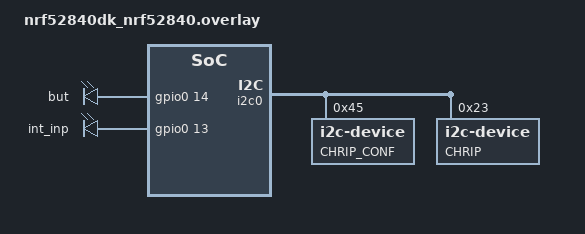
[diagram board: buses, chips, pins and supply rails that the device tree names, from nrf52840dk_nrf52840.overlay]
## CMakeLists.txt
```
# SPDX-License-Identifier: Apache-2.0

cmake_minimum_required(VERSION 3.20.0)

find_package(Zephyr REQUIRED HINTS $ENV{ZEPHYR_BASE})
include_directories(src/inc)
project(hello_world)

file(GLOB Dir1_Sources "src/lib/*.c")
add_executable(hello_world ${Dir1_Sources})

target_sources(app PRIVATE src/main.c)
```

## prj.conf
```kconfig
# nothing here
CONFIG_GPIO=y
CONFIG_I2C=y
```

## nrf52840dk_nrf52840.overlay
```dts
// To get started, press Ctrl+Space to bring up the completion menu and view the available nodes.
&i2c0 {
    chrip_conf: chrip_conf@45 {
		compatible = "i2c-device";
		label = "CHRIP_CONF";
		reg = <0x45>;
	};

    chrip: chrip@23 {
		compatible = "i2c-device";
		label = "CHRIP";
		reg = <0x23>;
	};
};

/{
	buttuns{
		compatible = "gpio-leds";
		but: but{
			gpios = <&gpio0 14 GPIO_ACTIVE_HIGH>;
		};

		int_inp: int_inp{
			gpios = <&gpio0 13 GPIO_ACTIVE_HIGH>;
		};
	};
};
// &gpio0 {
// 	chirp_pins: chirp_pins0{

// 		gpio-hog;
// 		gpios = < label cell >;
// 	};	
// };


// You can also use the buttons in the sidebar to perform actions on nodes.
// Actions currently available include:

// * Enabling / disabling the node
// * Adding the bus to a bus
// * Removing the node
// * Connecting ADC channels

// For more help, browse the DeviceTree documentation at https://docs.zephyrproject.org/latest/guides/dts/index.html
// You can also visit the nRF DeviceTree extension documentation at https://nrfconnect.github.io/vscode-nrf-connect/devicetree/nrfdevicetree.html
```

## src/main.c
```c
/*
 * Copyright (c) 2012-2014 Wind River Systems, Inc.
 *
 * SPDX-License-Identifier: Apache-2.0
 */

#include <zephyr/kernel.h>
#include <zephyr/drivers/gpio.h>
#include <zephyr/drivers/i2c.h>
#include "soniclib.h"

// Driver includes
// #include "inc/soniclib.h"
// #include "chirp_board_config.h"

#define SLEEP_TIME_MS 1000
#define LED0_NODE DT_ALIAS(led3)
#define I2C_MAIN_NODE DT_NODELABEL(chrip)
#define I2C_CONF_NODE DT_NODELABEL(chrip_conf)
#define GPIO DT_NODELABEL(&gpio)

// static const struct gpio_dt_spec led = GPIO_DT_SPEC_GET(LED0_NODE, gpios); 
// static const struct i2c_dt_spec iicm = I2C_DT_SPEC_GET(I2C_MAIN_NODE);
// static const struct i2c_dt_spec iicc = I2C_DT_SPEC_GET(I2C_CONF_NODE);

// static const struct gpio_dt_spec btn = GPIO_DT_SPEC_GET(DT_NODELABEL(but), gpios);
// static const struct gpio_dt_spec inp = GPIO_DT_SPEC_GET(DT_NODELABEL(int_inp), gpios);

// static struct gpio_callback btn_cb_data;

// void gpio_cb(const struct device *port, struct gpio_callback *cb, uint32_t pin){
// 	printk("INSIDE INTERRUPT\n\rPORT:%s\n\rPIN:%d\n\r", port->name, pin);
// }

// void gpio_cb2(const struct device *port, struct gpio_callback *cb, uint32_t pin){
// 	printk("INSIDE Function2\n\r");
// }

volatile uint32_t taskflags = 0;
static uint32_t active_devices;
static uint32_t data_ready_devices;
ch_dev_t	chirp_devices[CHIRP_MAX_NUM_SENSORS];
ch_group_t 	chirp_group;

#define DATA_READY_FLAG		(1 << 0)
#define IQ_READY_FLAG		(1 << 1)

#define	CHIRP_SENSOR_MAX_RANGE_MM		750	/* maximum range, in mm */

#define	CHIRP_SENSOR_STATIC_RANGE		0	/* static target rejection sample 
											   range, in samples (0=disabled) */
#define CHIRP_SENSOR_SAMPLE_INTERVAL	0	/* internal sample interval - 
											   NOT USED IF TRIGGERED */

static void periodic_timer_callback(void) {

	ch_group_trigger(&chirp_group);
}

static void sensor_int_callback(ch_group_t *grp_ptr, uint8_t dev_num) {
	ch_dev_t *dev_ptr = ch_get_dev_ptr(grp_ptr, dev_num);

	data_ready_devices |= (1 << dev_num);		// add to data-ready bit mask

	if (data_ready_devices == active_devices) {
		/* All active sensors have interrupted after performing a measurement */
		data_ready_devices = 0;

		/* Set data-ready flag - it will be checked in main() loop */
		taskflags |= DATA_READY_FLAG;

		/* Disable interrupt unless in free-running mode
		 *   It will automatically be re-enabled during the next trigger 
		 */
		if (ch_get_mode(dev_ptr) != CH_MODE_FREERUN) {
			chbsp_group_io_interrupt_disable(grp_ptr);
		}
	}
}

static void io_complete_callback(ch_group_t *grp_ptr) {

	taskflags |= IQ_READY_FLAG;
}


//#define	 CHIRP_SENSOR_FW_INIT_FUNC	ch101_gpr_open_init		/* CH101 GPR OPEN firmware */
#define	 CHIRP_SENSOR_FW_INIT_FUNC	ch201_gprmt_init	/* CH201 GPR Multi-Threshold firmware */

#define	MEASUREMENT_INTERVAL_MS		100		// 100ms interval = 10Hz sampling

ch_thresholds_t chirp_ch201_thresholds = {0, 	5000,		/* threshold 0 */
										 26,	2000,		/* threshold 1 */
										 39,	800,		/* threshold 2 */
										 56,	400,		/* threshold 3 */
										 79,	250,		/* threshold 4 */
										 89,	175};		/* threshold 5 */
										 
int main(void)
{
	ch_group_t	*grp_ptr = &chirp_group;
	chbsp_board_init(grp_ptr);

	uint8_t chirp_error = 0;
	uint8_t	num_connected = 0;
	uint8_t num_ports;
	uint8_t dev_num;

	
	num_ports = ch_get_num_ports(grp_ptr);
	ch_dev_t *dev_ptr = &(chirp_devices[dev_num]);	// init struct in array
	chirp_error |= ch_init(dev_ptr, grp_ptr, dev_num, CHIRP_SENSOR_FW_INIT_FUNC);

	if (chirp_error == 0) {
		printf("starting group... ");
		chirp_error = ch_group_start(grp_ptr);
	}

	dev_ptr = ch_get_dev_ptr(grp_ptr, 0);
	if (ch_sensor_is_connected(dev_ptr)) {

		printf("%d\tCH%d\t %u Hz\t%lu@%ums\t%s\n", dev_num,
										ch_get_part_number(dev_ptr),
										ch_get_frequency(dev_ptr),
										ch_get_rtc_cal_result(dev_ptr),
										ch_get_rtc_cal_pulselength(dev_ptr),
										ch_get_fw_version_string(dev_ptr));
	}
	printf("\n\r");

	chbsp_periodic_timer_init(MEASUREMENT_INTERVAL_MS, periodic_timer_callback);
	ch_io_int_callback_set(grp_ptr, sensor_int_callback);
	ch_io_complete_callback_set(grp_ptr, io_complete_callback);


	// Configure sensors with operation parameter
	ch_config_t dev_config;
	dev_ptr = ch_get_dev_ptr(grp_ptr, 0);

	if (ch_sensor_is_connected(dev_ptr)) {

		/* Select sensor mode 
			*   All connected sensors are placed in hardware triggered mode.
			*   The first connected (lowest numbered) sensor will transmit and 
			*   receive, all others will only receive.
			*/

		num_connected++;					// count one more connected
		active_devices |= (1 << dev_num);	// add to active device bit mask
		
		dev_config.mode = CH_MODE_TRIGGERED_TX_RX;
		// if (num_connected == 1) {			// if this is the first sensor
		// 	dev_config.mode = CH_MODE_TRIGGERED_TX_RX;
		// } else {									
		// 	dev_config.mode = CH_MODE_TRIGGERED_RX_ONLY;
		// }

		/* Init config structure with values from hello_chirp.h */
		dev_config.max_range       = CHIRP_SENSOR_MAX_RANGE_MM;
		dev_config.static_range    = CHIRP_SENSOR_STATIC_RANGE;
		dev_config.sample_interval = CHIRP_SENSOR_SAMPLE_INTERVAL;

		/* Set detection thresholds (CH201 only) */
		if (ch_get_part_number(dev_ptr) == CH201_PART_NUMBER) {
			/* Set pointer to struct containing detection thresholds */
			dev_config.thresh_ptr = &chirp_ch201_thresholds;	
		} else {
			dev_config.thresh_ptr = 0;							
		}

		/* Apply sensor configuration */
		chirp_error = ch_set_config(dev_ptr, &dev_config);

		/* Enable sensor interrupt if using free-running mode 
			*   Note that interrupt is automatically enabled if using 
			*   triggered modes.
			*/
		if ((!chirp_error) && (dev_config.mode == CH_MODE_FREERUN)) {
			chbsp_io_interrupt_enable(dev_ptr);
		}

		/* Read back and display config settings */
		if (!chirp_error) {
			display_config_info(dev_ptr);
		} else {
			printf("Device %d: Error during ch_set_config()\n", dev_num);
		}

		/* Turn on an LED to indicate device connected */
		if (!chirp_error) {
			// chbsp_led_on(dev_num);
			printk("Error in configuring the sensor\n\r");
		}
	}

	chbsp_periodic_timer_irq_enable();
	chbsp_periodic_timer_start();

	printf("Starting measurements\n");

	while(1){
		if (taskflags==0) {
			chbsp_proc_sleep();			// put processor in low-power sleep mode

			/* We only continue here after an interrupt wakes the processor */
		}

		/* Check for sensor data-ready interrupt(s) */
		if (taskflags & DATA_READY_FLAG) {

			/* All sensors have interrupted - handle sensor data */
			taskflags &= ~DATA_READY_FLAG;		// clear flag
			handle_data_ready(grp_ptr);			// read and display measurement
		}

		/* Check for non-blocking I/Q readout complete */
		if (taskflags & IQ_READY_FLAG) {

			/* All non-blocking I/Q readouts have completed */
			taskflags &= ~IQ_READY_FLAG;		// clear flag
			handle_iq_data(grp_ptr);			// display I/Q data
		}
	}
}
	// irq_enable();
// 	int ret;
// 	// btn.port
// 	if(!device_is_ready(btn.port)){
// 		return 0;
// 	}

// 	if(!device_is_ready(inp.port)){
// 		return 0;
// 	}

// 	if(!gpio_is_ready_dt(&led)){
// 		return 0;
// 	}


// 	ret = gpio_pin_configure_dt(&btn, GPIO_OUTPUT);
// 	if(ret != 0){
// 		return ret;
// 	}

// 	ret = gpio_pin_configure_dt(&inp, GPIO_INPUT);
// 	if(ret != 0){
// 		return ret;
// 	}

// 	ret = gpio_pin_interrupt_configure_dt(&inp, GPIO_INT_EDGE_RISING);
// 	if(ret != 0){
// 		return ret;
// 	}

// 	gpio_init_callback(&btn_cb_data, gpio_cb, BIT(inp.pin));

// 	gpio_add_callback(inp.port, &btn_cb_data);
	

// 	ret = gpio_pin_configure_dt(&led, GPIO_OUTPUT_ACTIVE);
// 	if(ret<0){
// 		return 0;
// 	}

// 	if (!device_is_ready(iicm.bus)) {
// 		printk("I2C Main bus %s is not ready!\n\r",iicm.bus->name);
// 		return 0;
// 	}

// 	if (!device_is_ready(iicc.bus)) {
// 		printk("I2C Conf bus %s is not ready!\n\r",iicc.bus->name);
// 		return 0;
// 	}

// 	// uint8_t config[2] = {0x03,0x8C};
// 	int counter = 0;
// 	while (1)
// 	{
		
// 		// ret = gpio_pin_toggle_dt(&led);
// 		// if(ret<0){
// 		// 	return 0;
// 		// }

// 		ret = i2c_write_dt(&iicm, config, sizeof(config));
// 		// if(ret != 0){
// 		// 	printk("Failed to write to I2C Main device address %x at reg. %x n", iicm.addr,config[0]);
// 		// }

// 		// ret = i2c_write_dt(&iicc, config, sizeof(config));
// 		// if(ret != 0){
// 		// 	printk("Failed to write to I2C Conf device address %x at reg. %x n", iicc.addr,config[0]);
// 		// }

// 		// printk("Hello World! %s\n", CONFIG_BOARD);

// 		gpio_pin_set(btn.port, btn.pin, 0);
// 		k_msleep(100);
// 		gpio_pin_set(btn.port, btn.pin, 1);
// 		k_msleep(900);
// 		printk("ONE_LOOP_COMPLETED: %d\n\r", counter);

// 		if(counter == 10){
// 			// Disable interrupt
// 			gpio_init_callback(&btn_cb_data, gpio_cb2, BIT(inp.pin));
// 			gpio_add_callback(inp.port, &btn_cb_data);
// 		}
// 		else if(counter == 16){
// 			// Enable interrupt
// 			gpio_pin_interrupt_configure_dt(&inp, GPIO_INT_EDGE_FALLING);
// 		}
// 		counter++;
// 	}
// 	return 0;
// }
```

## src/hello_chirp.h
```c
/*
 * hello_chirp.h - header file for Hello Chirp! example application 
 */

/*
Copyright © 2019, Chirp Microsystems.   All rights reserved.

THIS SOFTWARE IS PROVIDED BY THE COPYRIGHT HOLDERS AND CONTRIBUTORS "AS IS" AND
ANY EXPRESS OR IMPLIED WARRANTIES, INCLUDING, BUT NOT LIMITED TO, THE IMPLIED
WARRANTIES OF MERCHANTABILITY AND FITNESS FOR A PARTICULAR PURPOSE ARE
DISCLAIMED. IN NO EVENT SHALL CHIRP MICROSYSTEMS BE LIABLE FOR ANY
DIRECT, INDIRECT, INCIDENTAL, SPECIAL, EXEMPLARY, OR CONSEQUENTIAL DAMAGES
(INCLUDING, BUT NOT LIMITED TO, PROCUREMENT OF SUBSTITUTE GOODS OR SERVICES;
LOSS OF USE, DATA, OR PROFITS; OR BUSINESS INTERRUPTION) HOWEVER CAUSED AND
ON ANY THEORY OF LIABILITY, WHETHER IN CONTRACT, STRICT LIABILITY, OR TORT
(INCLUDING NEGLIGENCE OR OTHERWISE) ARISING IN ANY WAY OUT OF THE USE OF THIS
SOFTWARE, EVEN IF ADVISED OF THE POSSIBILITY OF SUCH DAMAGE.

You can contact the authors of this program by email at support@chirpmicro.com
or by mail at 2560 Ninth Street, Suite 220, Berkeley, CA 94710.
*/

#ifndef __HELLO_CHIRP_H
#define __HELLO_CHIRP_H

/*
 *   This file contains various definitions used in the hello_chirp.c
 *   application.
 *
 *   All symbols and objects defined in this file are specific to the 
 *   hello_chirp application, and are not required by SonicLib or other 
 *   Chirp interfaces.  You are free to modify this file, change names,
 *   etc. as necessary.
 */

/* Includes */
#include "soniclib.h"				// SonicLib API functions
#include "chirp_board_config.h"		// counts etc. from board support package

#include <stdio.h>
#include <string.h>
#include <stdlib.h>
#include <complex.h>

/* Hello Chirp application version */
#define	APP_VERSION_MAJOR	1		// major version
#define APP_VERSION_MINOR	0		// minor version
#define APP_VERSION_REV 	4		// revision


/*========================= Sensor Firmware Selection ===========================*/

/* Select sensor firmware to use 
 *   The sensor firmware is specified during the call to ch_init(), by
 *   giving the name (address) of the firmware initialization function 
 *   that will be called.
 *
 *   Uncomment ONE of the following lines to use that sensor firmware type.
 *   Note that you must choose a firmware image that is appropriate for the 
 *   sensor model you are using (CH101 or CH201).  
 *
 *   To use a different sensor firmware type (e.g. a new distribution from
 *   Chirp), simply define CHIRP_SENSOR_FW_INIT_FUNC to equal the name of
 *   the init routine for the new firmware.
 */

#define	 CHIRP_SENSOR_FW_INIT_FUNC	ch101_gpr_open_init		/* CH101 GPR OPEN firmware */
//#define	 CHIRP_SENSOR_FW_INIT_FUNC	ch201_gprmt_init	/* CH201 GPR Multi-Threshold firmware */

/* SHORT RANGE OPTION:
 *   Uncomment the following line to use different CH101 sensor f/w optimized for 
 *   short range. The short range firmware has 4 times the resolution, but 
 *   only 1/4 the maximum range.  If you use this option, you should redefine 
 *   the CHIRP_SENSOR_MAX_RANGE_MM symbol, below, to 250mm or less.
 */
// #define	USE_SHORT_RANGE			/* use short-range firmware */

#ifdef USE_SHORT_RANGE
#undef	 CHIRP_SENSOR_FW_INIT_FUNC
#define	 CHIRP_SENSOR_FW_INIT_FUNC		ch101_gpr_sr_open_init	/* CH101 GPR SR OPEN firmware (short range) */
#endif


/*============================ Sensor Configuration =============================*/

/* Define configuration settings for the Chirp sensors 
 *   The following symbols define configuration values that are used to 
 *   initialize the ch_config_t structure passed during the ch_set_config() 
 *   call.  
 */
#define	CHIRP_SENSOR_MAX_RANGE_MM		750	/* maximum range, in mm */

#define	CHIRP_SENSOR_STATIC_RANGE		0	/* static target rejection sample 
											   range, in samples (0=disabled) */
#define CHIRP_SENSOR_SAMPLE_INTERVAL	0	/* internal sample interval - 
											   NOT USED IF TRIGGERED */


/*============================= Application Timing ==============================*/

/* Define how often the application will get a new sample from the sensor(s) 
 *   This macro defines the sensor sample interval, in milliseconds.  The 
 *   application will use a timer to trigger a sensor measurement after 
 *   this period elapses.
 */
#define	MEASUREMENT_INTERVAL_MS		100		// 100ms interval = 10Hz sampling


/*===================  Application Storage for Sensor Data ======================*/

/* Define how many I/Q samples are expected by this application
 *   The following macro is used to allocate space for I/Q data in the 
 *   "chirp_data_t" structure, defined below.  Because a Chirp CH201 sensor 
 *   has more I/Q data than a CH101 device, the CH201 sample count is used 
 *   here.
 *   If you are ONLY using CH101 devices with this application, you may 
 *   redefine the following define to equal CH101_MAX_NUM_SAMPLES to use 
 *   less memory.
 */
#define IQ_DATA_MAX_NUM_SAMPLES  CH201_MAX_NUM_SAMPLES	// use CH201 I/Q size

/* chirp_data_t - Structure to hold measurement data for one sensor
 *   This structure is used to hold the data from one measurement cycle from 
 *   a sensor.  The data values include the measured range, the ultrasonic 
 *   signal amplitude, the number of valid samples (I/Q data pairs) in the 
 *   measurement, and the raw I/Q data from the measurement.
 *
 *  The format of this data structure is specific to this application, so 
 *  you may change it as desired.
 *
 *  A "chirp_data[]" array of these structures, one for each possible sensor, 
 *  is declared in the hello_chirp.c file.  The sensor's device number is 
 *  used to index the array.
 */
typedef struct {
	uint32_t		range;							// from ch_get_range()
	uint16_t		amplitude;						// from ch_get_amplitude()
	uint16_t		num_samples;					// from ch_get_num_samples()
	ch_iq_sample_t	iq_data[IQ_DATA_MAX_NUM_SAMPLES];	// from ch_get_iq_data()
} chirp_data_t;

extern chirp_data_t	chirp_data[];


/*===================  Build Options for I/Q Data Handling ======================*/

/* The following build options control if and how the raw I/Q data is read 
 * from the device after each measurement cycle, in addition to the standard 
 * range and amplitude.  Comment or un-comment the various definitions, as 
 * appropriate.
 *
 * Note that reading the I/Q data is not required for most basic sensing 
 * applications - the reported range value is typically all that is required. 
 * However, the full data set may be read and analyzed for more advanced 
 * sensing needs.
 *
 * By default, this application will read the I/Q data in blocking mode 
 * (i.e. READ_IQ_DATA_BLOCKING is defined by default).  The data will be read 
 * from the device and placed in the I/Q data array field in application's 
 * chirp_data structure.
 *
 * Normally, the I/Q data is read in blocking mode, so the call to 
 * ch_get_iq_data() will not return until the data has actually been read from 
 * the device.  However, if READ_IQ_DATA_NONBLOCK is defined instead, the I/Q 
 * data will be read in non-blocking mode. The ch_get_iq_data() call will 
 * return immediately, and a separate callback function will be called to 
 * notify the application when the read operation is complete.
 *
 * Finally, if OUTPUT_IQ_DATA_CSV is defined, the application will write the 
 * I/Q data bytes out through the serial port in ascii form as comma-separated 
 * numeric value pairs.  This can make it easier to take the data from the 
 * application and analyze it in a spreadsheet or other program.
 */


#define READ_IQ_DATA_BLOCKING		/* define for blocking I/Q data read */
// #define READ_IQ_DATA_NONBLOCK	/* define for non-blocking I/Q data read */

// #define OUTPUT_IQ_DATA_CSV		/* define to output I/Q data in CSV format*/


#endif /* __HELLO_CHIRP_H */

/*******  END OF FILE hello_chirp.h  --  Copyright © Chirp Microsystems ******/
```
